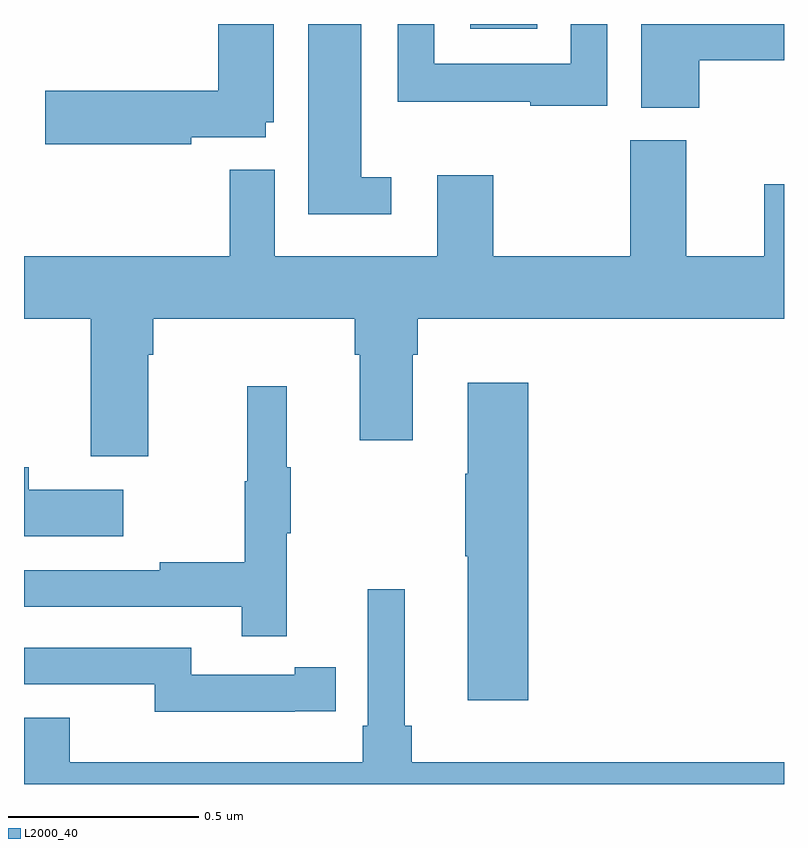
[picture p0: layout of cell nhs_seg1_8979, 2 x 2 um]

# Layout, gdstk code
import gdstk
lib = gdstk.Library(unit=1e-6, precision=1e-09)
def R(c, l, rs):  # rectangles x0, y0, x1, y1
    for r in rs: c.add(gdstk.rectangle(r[:2], r[2:], *l))
def P(c, l, *ps):  # polygons
    for p in ps: c.add(gdstk.Polygon(p, *l))
L2000_40 = (2000, 40)

nhs_seg1_8979 = lib.new_cell('nhs_seg1_8979')
R(nhs_seg1_8979, L2000_40, [(224.174,527.186,224.35,527.199)])
P(nhs_seg1_8979, L2000_40, [(223.966,526.796),(223.888,526.796),(223.888,527.199),(223.748,527.199),(223.748,526.698),(223.966,526.698)],
  [(224.535,527.199),(224.439,527.199),(224.439,527.095),(224.079,527.095),(224.079,527.199),(223.983,527.199),(223.983,526.994),(224.332,526.994),(224.332,526.984),(224.535,526.984)],
  [(223.44,526.901),(223.636,526.901),(223.636,526.941),(223.657,526.941),(223.657,527.199),(223.511,527.199),(223.511,527.024),(223.056,527.024),(223.056,526.882),(223.44,526.882)],
  [(224.777,527.104),(225,527.104),(225,527.199),(224.624,527.199),(224.624,526.978),(224.777,526.978)],
  [(223.327,526.328),(223.34,526.328),(223.34,526.424),(223.871,526.424),(223.871,526.328),(223.883,526.328),(223.883,526.104),(224.023,526.104),(224.023,526.328),(224.036,526.328),(224.036,526.424),(225,526.424),(225,526.777),(224.948,526.777),(224.948,526.588),(224.743,526.588),(224.743,526.893),(224.596,526.893),(224.596,526.588),(224.235,526.588),(224.235,526.801),(224.087,526.801),(224.087,526.588),(223.66,526.588),(223.66,526.816),(223.542,526.816),(223.542,526.588),(223,526.588),(223,526.424),(223.175,526.424),(223.175,526.062),(223.327,526.062)],
  [(224.327,526.255),(224.168,526.255),(224.168,526.016),(224.161,526.016),(224.161,525.799),(224.168,525.799),(224.168,525.42),(224.327,525.42)],
  [(223.691,525.859),(223.702,525.859),(223.702,526.033),(223.691,526.033),(223.691,526.246),(223.588,526.246),(223.588,525.996),(223.581,525.996),(223.581,525.782),(223.357,525.782),(223.357,525.762),(223,525.762),(223,525.666),(223.573,525.666),(223.573,525.588),(223.691,525.588)],
  [(223.261,525.973),(223.013,525.973),(223.013,526.033),(223,526.033),(223,525.851),(223.261,525.851)],
  [(225,525.256),(224.021,525.256),(224.021,525.352),(224.002,525.352),(224.002,525.712),(223.905,525.712),(223.905,525.352),(223.892,525.352),(223.892,525.256),(223.12,525.256),(223.12,525.373),(223,525.373),(223,525.199),(225,525.199)],
  [(223.712,525.39),(223.82,525.39),(223.82,525.506),(223.712,525.506),(223.712,525.486),(223.44,525.486),(223.44,525.558),(223,525.558),(223,525.462),(223.344,525.462),(223.344,525.389),(223.712,525.389)])

lib.write_gds('nhs_seg1_8979.gds')
